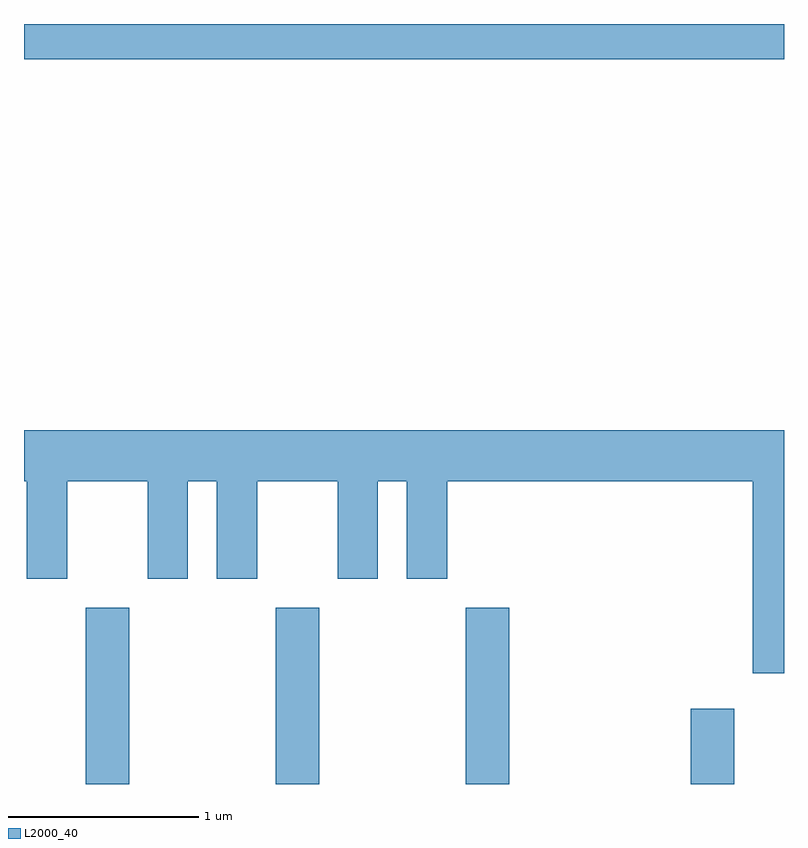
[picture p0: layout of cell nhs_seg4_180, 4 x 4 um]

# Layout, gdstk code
import gdstk
lib = gdstk.Library(unit=1e-6, precision=1e-09)
def R(c, l, rs):  # rectangles x0, y0, x1, y1
    for r in rs: c.add(gdstk.rectangle(r[:2], r[2:], *l))
def A(c, l, x, y, w, h, nx, ny, dx, dy):  # array of equal rectangles
    R(c, l, [(x+i*dx, y+j*dy, x+i*dx+w, y+j*dy+h) for i in range(nx) for j in range(ny)])
def P(c, l, *ps):  # polygons
    for p in ps: c.add(gdstk.Polygon(p, *l))
L2000_40 = (2000, 40)

nhs_seg4_180 = lib.new_cell('nhs_seg4_180')
A(nhs_seg4_180, L2000_40, 189.936, 1341.982, 0.228, 0.927, 3, 1, 1, 0)
R(nhs_seg4_180, L2000_40, [(193.121,1341.982,193.349,1342.379), (189.611,1345.796,193.611,1345.982)])
P(nhs_seg4_180, L2000_40, [(193.611,1343.844),(189.611,1343.844),(189.611,1343.576),(189.626,1343.576),(189.626,1343.061),(189.839,1343.061),(189.839,1343.576),(190.261,1343.576),(190.261,1343.061),(190.474,1343.061),(190.474,1343.576),(190.626,1343.576),(190.626,1343.061),(190.839,1343.061),(190.839,1343.576),(191.261,1343.576),(191.261,1343.061),(191.474,1343.061),(191.474,1343.576),(191.626,1343.576),(191.626,1343.061),(191.839,1343.061),(191.839,1343.576),(193.446,1343.576),(193.446,1342.566),(193.611,1342.566)])

lib.write_gds('nhs_seg4_180.gds')
